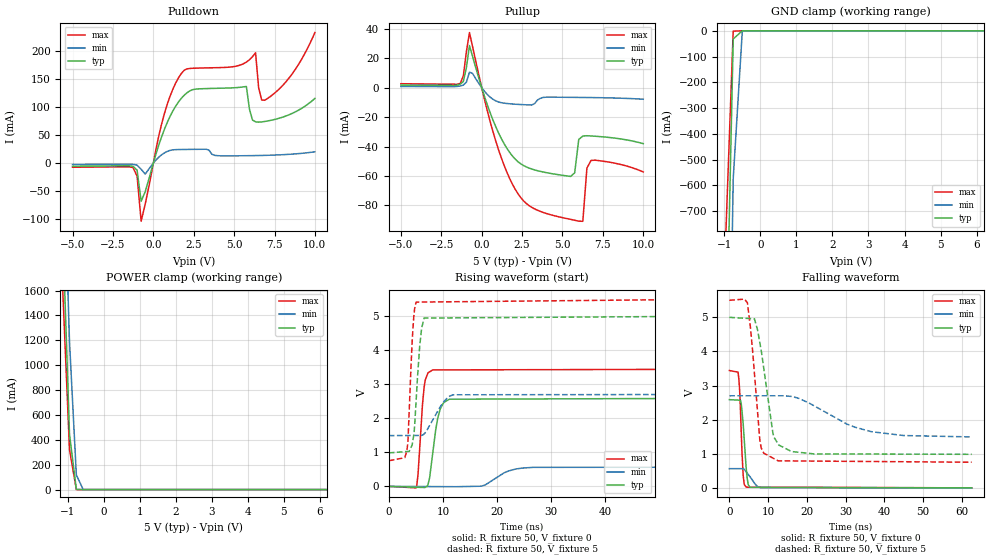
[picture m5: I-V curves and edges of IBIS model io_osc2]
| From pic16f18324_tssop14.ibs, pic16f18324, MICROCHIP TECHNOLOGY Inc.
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|[Package Model]   There is an optional, fairly complex Package Modeling
|   section here in the file if you want it.  You will have
|   to add it yourself, because SiliconSmart has no
|   notion of packaging.  Please see the IBIS Specification
|   for details.
[Model] io_osc2
Model_type I/O
Vinl  =  0.8
Vinh  =  2
| Capacitance   typ   min   max
C_comp   2.88263639164024e-12   2.825277279792308e-12   3.126974905108055e-12
[Model Spec]
| Subparameter   typ   min   max
Vinl   1.5   0.81   1.65
Vinh   3.6   1.89   3.85
Vmeas   2.5   1.35   2.75
| Variables   typ   min   max
[GND Clamp Reference]   0   0   0
[POWER Clamp Reference]   5   2.7   5.5
[Pulldown Reference]   0   0   0
[Pullup Reference]   5   2.7   5.5
[Temperature Range]   25   125   -40
[Voltage Range]   5   2.7   5.5
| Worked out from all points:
|   slope of the pulldown table from 0 to 0.75 V, typ, clamps not added: 11.6 ohm
|   slope of the pullup table from 0 to 0.75 V, typ, clamps not added: 32.1 ohm
|   POWER clamp passes 1 mA (typ) near -0.69 V on its own axis
|   falling waveform, R_fixture 50, V_fixture 0: 20-80 % time 994ps typ, 2.15ns min, 725ps max; typ from 2.59 V to 0 V
|   falling waveform, R_fixture 50, V_fixture 5: 20-80 % time 3.05ns typ, 12.8ns min, 2.08ns max; typ from 5 V to 0.984 V
|   rising waveform, R_fixture 50, V_fixture 0: 20-80 % time 1.4ns typ, 3.58ns min, 896ps max; typ from 0 V to 2.59 V
|   rising waveform, R_fixture 50, V_fixture 5: 20-80 % time 987ps typ, 2.69ns min, 794ps max; typ from 0.984 V to 5 V
[GND Clamp]
| Voltage   I(typ)   I(min)   I(max)
-5V       -42.21A    -43.04A    -41.6A
-1.007V   -1.638A    -2.712A    -968.2mA
-755.2mV  -31.66mA   -574.2mA   -1.247mA
-503.4mV  -17.08uA   -2.03mA    -10.87uA
10V       0A         0A         0A
[POWER Clamp]
| Voltage   I(typ)   I(min)   I(max)
-5V       42.66A     43.24A     41.97A
-1.138V   2.091A     2.92A      1.616A
-948.3mV  443.1mA    1.189A     319.3mA
-758.6mV  1.623mA    117.9mA    565.1uA
-569mV    7.463uA    576.9uA    18.39uA
10V       0A         0A         0A
[Pulldown]
| Voltage   I(typ)   I(min)   I(max)
-5V       -5.508mA   -2.285mA   -7.343mA
-1.259V   -5.718mA   -2.128mA   -7.875mA
-1.007V   -12.47mA   -3.552mA   -23.21mA
-755.2mV  -67.94mA   -10.85mA   -103.8mA
689.7mV   60.64mA    18.37mA    88.89mA
1.897V    120.8mA    24.38mA    165.4mA
5.759V    136.8mA    13.24mA    180.3mA
5.948V    96.42mA    13.32mA    184.5mA
6.328V    73.75mA    13.49mA    196.9mA
6.517V    73.15mA    13.59mA    134.6mA
6.897V    74.36mA    13.85mA    112.2mA
10V       115.4mA    20.23mA    233mA
[Pullup]
| Voltage   I(typ)   I(min)   I(max)
-5V       1.802mA    860.1uA    2.716mA
-1.328V   2.435mA    1.15mA     2.962mA
-758.6mV  28.67mA    10.56mA    37.51mA
517.2mV   -16.87mA   -6.36mA    -22.84mA
1.552V    -41.1mA    -10.72mA   -57.31mA
3.793V    -57.31mA   -6.624mA   -84.79mA
5.755V    -57.87mA   -6.571mA   -90.14mA
6.007V    -35.21mA   -6.598mA   -90.76mA
6.259V    -32.85mA   -6.628mA   -90.85mA
6.51V     -32.65mA   -6.66mA    -54.74mA
6.762V    -32.81mA   -6.696mA   -49.46mA
10V       -38.05mA   -7.82mA    -57.29mA
[Ramp]
dV/dt_r   1.55194/1.40162n  0.337951/3.58185n  2.06425/0.896428n
dV/dt_f   2.40972/3.05383n  0.723908/12.792n  2.84912/2.08257n
R_load = 50
[Falling Waveform]
R_fixture = 50
V_fixture = 0
V_fixture_min = 0
V_fixture_max = 0
| Time   V(typ)   V(min)   V(max)
0s        2.587V     563.3mV    3.44V
2.262ns   2.573V     563.1mV    3.394V
2.776ns   2.569V     563.1mV    2.598V
3.267ns   2.252V     563.1mV    1.047V
3.584ns   1.86V      560.4mV    353.2mV
4.37ns    563.9mV    469.2mV    20.12mV
4.899ns   89.34mV    391mV      19.93mV
5.353ns   15.8mV     323.8mV    19.78mV
8.078ns   15.05mV    5.153mV    18.83mV
62.5ns    154.3nV    11.23uV    83.89nV
[Falling Waveform]
R_fixture = 50
V_fixture = 5
V_fixture_min = 2.7
V_fixture_max = 5.5
| Time   V(typ)   V(min)   V(max)
0s        5V         2.7V       5.5V
4.666ns   4.969V     2.7V       5.428V
5.474ns   4.964V     2.7V       4.677V
6.481ns   4.957V     2.7V       3.356V
7.893ns   4.241V     2.7V       1.373V
8.888ns   3.503V     2.7V       1.016V
11.54ns   1.481V     2.701V     856.3mV
16.05ns   1.065V     2.68V      789.9mV
36.67ns   991.3mV    1.647V     772.8mV
62.5ns    983.8mV    1.493V     751.5mV
[Rising Waveform]
R_fixture = 50
V_fixture = 0
V_fixture_min = 0
V_fixture_max = 0
| Time   V(typ)   V(min)   V(max)
0s        -55.21pV   2.607nV    -70.98pV
5.044ns   -25.37mV   -4.004mV   -43.67mV
5.406ns   -27.19mV   -4.291mV   364.8mV
6.537ns   -32.88mV   -5.189mV   2.926V
7.186ns   16.39mV    -5.704mV   3.315V
8.099ns   950mV      -6.429mV   3.421V
9.499ns   2.274V     -7.54mV    3.421V
11.19ns   2.56V      -8.883mV   3.422V
24.64ns   2.567V     537.1mV    3.427V
62.5ns    2.587V     563.3mV    3.44V
[Rising Waveform]
R_fixture = 50
V_fixture = 5
V_fixture_min = 2.7
V_fixture_max = 5.5
| Time   V(typ)   V(min)   V(max)
0s        983.8mV    1.491V     751.5mV
3.325ns   1.023V     1.494V     1.036V
3.53ns    1.026V     1.494V     1.294V
4.342ns   1.247V     1.495V     4.344V
4.661ns   1.557V     1.495V     5.048V
5.047ns   2.521V     1.496V     5.413V
5.706ns   4.115V     1.496V     5.414V
6.524ns   4.944V     1.541V     5.415V
11.91ns   4.949V     2.69V      5.423V
62.5ns    5V         2.7V       5.5V
